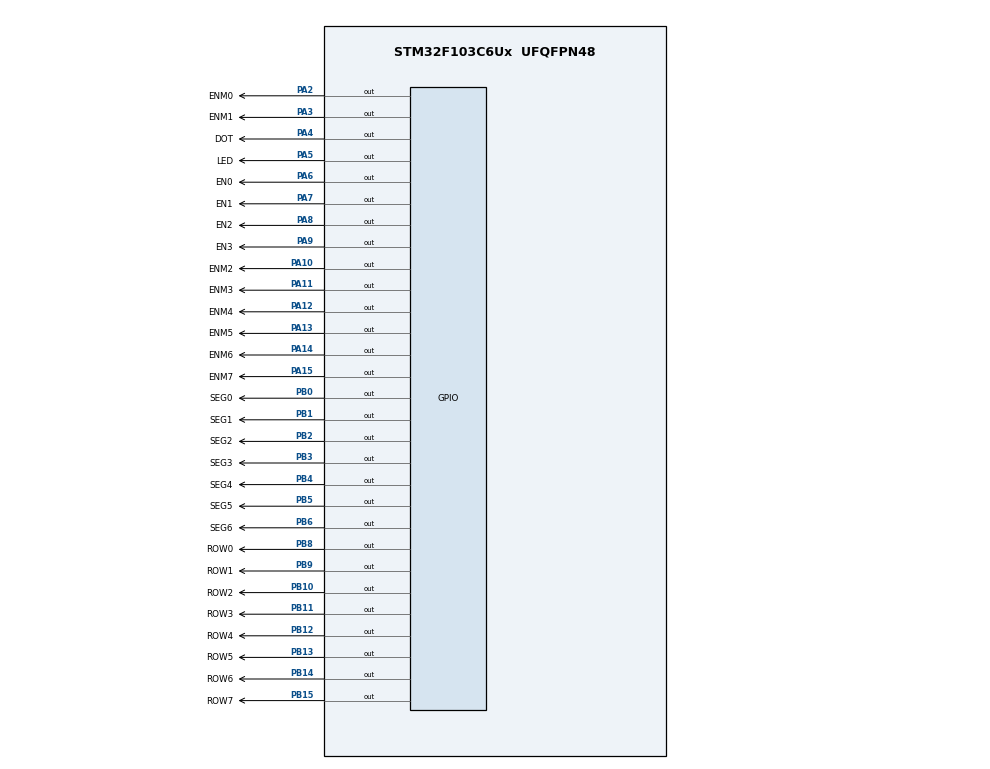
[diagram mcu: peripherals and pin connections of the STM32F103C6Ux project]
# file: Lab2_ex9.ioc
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Mcu.Family=STM32F1
Mcu.Name=STM32F103C6Ux
Mcu.Package=UFQFPN48
NVIC.PriorityGroup=NVIC_PRIORITYGROUP_4
NVIC.TIM2_IRQn=true\:0\:0\:false\:false\:true\:true\:true\:true
PA10.GPIO_Label=ENM2
PA10.Signal=GPIO_Output
PA11.GPIO_Label=ENM3
PA11.Signal=GPIO_Output
PA12.GPIO_Label=ENM4
PA12.Signal=GPIO_Output
PA13.GPIO_Label=ENM5
PA13.Signal=GPIO_Output
PA14.GPIO_Label=ENM6
PA14.Signal=GPIO_Output
PA15.GPIO_Label=ENM7
PA15.Signal=GPIO_Output
PA2.GPIO_Label=ENM0
PA2.Signal=GPIO_Output
PA3.GPIO_Label=ENM1
PA3.Signal=GPIO_Output
PA4.GPIO_Label=DOT
PA4.Signal=GPIO_Output
PA5.GPIO_Label=LED
PA5.Signal=GPIO_Output
PA6.GPIO_Label=EN0
PA6.Signal=GPIO_Output
PA7.GPIO_Label=EN1
PA7.Signal=GPIO_Output
PA8.GPIO_Label=EN2
PA8.Signal=GPIO_Output
PA9.GPIO_Label=EN3
PA9.Signal=GPIO_Output
PB0.GPIO_Label=SEG0
PB0.Signal=GPIO_Output
PB1.GPIO_Label=SEG1
PB1.Signal=GPIO_Output
PB10.GPIO_Label=ROW2
PB10.Signal=GPIO_Output
PB11.GPIO_Label=ROW3
PB11.Signal=GPIO_Output
PB12.GPIO_Label=ROW4
PB12.Signal=GPIO_Output
PB13.GPIO_Label=ROW5
PB13.Signal=GPIO_Output
PB14.GPIO_Label=ROW6
PB14.Signal=GPIO_Output
PB15.GPIO_Label=ROW7
PB15.Signal=GPIO_Output
PB2.GPIO_Label=SEG2
PB2.Signal=GPIO_Output
PB3.GPIO_Label=SEG3
PB3.Signal=GPIO_Output
PB4.GPIO_Label=SEG4
PB4.Signal=GPIO_Output
PB5.GPIO_Label=SEG5
PB5.Signal=GPIO_Output
PB6.GPIO_Label=SEG6
PB6.Signal=GPIO_Output
PB8.GPIO_Label=ROW0
PB8.Signal=GPIO_Output
PB9.GPIO_Label=ROW1
PB9.Signal=GPIO_Output
ProjectManager.HeapSize=0x200
ProjectManager.StackSize=0x400
ProjectManager.TargetToolchain=STM32CubeIDE
RCC.APB1Freq_Value=8000000
RCC.APB2Freq_Value=8000000
TIM2.Period=9
TIM2.Prescaler=7999
VP_TIM2_VS_ClockSourceINT.Mode=Internal
board=custom

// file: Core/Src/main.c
/* USER CODE BEGIN Header */
/**
  ******************************************************************************
  * @file           : main.c
  * @brief          : Main program body
  ******************************************************************************
  * @attention
  *
  * Copyright (c) 2023 STMicroelectronics.
  * All rights reserved.
  *
  * This software is licensed under terms that can be found in the LICENSE file
  * in the root directory of this software component.
  * If no LICENSE file comes with this software, it is provided AS-IS.
  *
  ******************************************************************************
  */
/* USER CODE END Header */
#include "main.h"

/* USER CODE BEGIN Includes */
#include "software_timer.h"
/* USER CODE END Includes */

TIM_HandleTypeDef htim2;

void SystemClock_Config(void);
static void MX_GPIO_Init(void);
static void MX_TIM2_Init(void);

/* USER CODE BEGIN 0 */
const int MAX_LED_MATRIX = 8;
int index_led_matrix = 0;
uint8_t matrix_buffer[8] = {
		0b11111111,
		0b11000000,
		0b10000000,
		0b10110111,
		0b10110111,
		0b10000000,
		0b11000000,
		0b11111111
};
void displayLEDm(int index) {
	uint16_t row_arr = matrix_buffer[index];
	HAL_GPIO_WritePin(GPIOB, ROW7_Pin, (row_arr >> 0) & 1);
	HAL_GPIO_WritePin(GPIOB, ROW6_Pin, (row_arr >> 1) & 1);
	HAL_GPIO_WritePin(GPIOB, ROW5_Pin, (row_arr >> 2) & 1);
	HAL_GPIO_WritePin(GPIOB, ROW4_Pin, (row_arr >> 3) & 1);
	HAL_GPIO_WritePin(GPIOB, ROW3_Pin, (row_arr >> 4) & 1);
	HAL_GPIO_WritePin(GPIOB, ROW2_Pin, (row_arr >> 5) & 1);
	HAL_GPIO_WritePin(GPIOB, ROW1_Pin, (row_arr >> 6) & 1);
	HAL_GPIO_WritePin(GPIOB, ROW0_Pin, (row_arr >> 7) & 1);

}
void updateLEDMatrix(int index) {
	switch (index) {
		case 0:
			HAL_GPIO_WritePin(GPIOA, ENM0_Pin, GPIO_PIN_RESET);
			HAL_GPIO_WritePin(GPIOA, ENM1_Pin|ENM2_Pin|ENM3_Pin|ENM4_Pin|ENM5_Pin|ENM6_Pin|ENM7_Pin, GPIO_PIN_SET);
			break;
		case 1:
			HAL_GPIO_WritePin(GPIOA, ENM1_Pin, GPIO_PIN_RESET);
			HAL_GPIO_WritePin(GPIOA, ENM0_Pin|ENM2_Pin|ENM3_Pin|ENM4_Pin|ENM5_Pin|ENM6_Pin|ENM7_Pin, GPIO_PIN_SET);
			break;
		case 2:
			HAL_GPIO_WritePin(GPIOA, ENM2_Pin, GPIO_PIN_RESET);
			HAL_GPIO_WritePin(GPIOA, ENM0_Pin|ENM1_Pin|ENM3_Pin|ENM4_Pin|ENM5_Pin|ENM6_Pin|ENM7_Pin, GPIO_PIN_SET);
			break;
		case 3:
			HAL_GPIO_WritePin(GPIOA, ENM3_Pin, GPIO_PIN_RESET);
			HAL_GPIO_WritePin(GPIOA, ENM0_Pin|ENM1_Pin|ENM2_Pin|ENM4_Pin|ENM5_Pin|ENM6_Pin|ENM7_Pin, GPIO_PIN_SET);
			break;
		case 4:
			HAL_GPIO_WritePin(GPIOA, ENM4_Pin, GPIO_PIN_RESET);
			HAL_GPIO_WritePin(GPIOA, ENM0_Pin|ENM1_Pin|ENM2_Pin|ENM3_Pin|ENM5_Pin|ENM6_Pin|ENM7_Pin, GPIO_PIN_SET);
			break;
		case 5:
			HAL_GPIO_WritePin(GPIOA, ENM5_Pin, GPIO_PIN_RESET);
			HAL_GPIO_WritePin(GPIOA, ENM0_Pin|ENM1_Pin|ENM2_Pin|ENM3_Pin|ENM4_Pin|ENM6_Pin|ENM7_Pin, GPIO_PIN_SET);
			break;
		case 6:
			HAL_GPIO_WritePin(GPIOA, ENM6_Pin, GPIO_PIN_RESET);
			HAL_GPIO_WritePin(GPIOA, ENM0_Pin|ENM1_Pin|ENM2_Pin|ENM3_Pin|ENM4_Pin|ENM5_Pin|ENM7_Pin, GPIO_PIN_SET);
			break;
		case 7:
			HAL_GPIO_WritePin(GPIOA, ENM7_Pin, GPIO_PIN_RESET);
			HAL_GPIO_WritePin(GPIOA, ENM0_Pin|ENM1_Pin|ENM2_Pin|ENM3_Pin|ENM4_Pin|ENM5_Pin|ENM6_Pin, GPIO_PIN_SET);
			break;
		default:
			break;
	}
	displayLEDm(index);
}

/* USER CODE END 0 */

int main(void)
{

  /* MCU Configuration--------------------------------------------------------*/

  /* Reset of all peripherals, Initializes the Flash interface and the Systick. */
  HAL_Init();

  /* Configure the system clock */
  SystemClock_Config();

  /* Initialize all configured peripherals */
  MX_GPIO_Init();
  MX_TIM2_Init();
  /* USER CODE BEGIN 2 */
  HAL_TIM_Base_Start_IT(&htim2);
  /* USER CODE END 2 */

  /* Infinite loop */
  /* USER CODE BEGIN WHILE */
  setTimer1(2);
  setTimer2(16);
  int index = 0;
  while (1)
  {
	  if (timer1_flag == 1) {
		  setTimer1(2);
		  HAL_GPIO_TogglePin(LED_GPIO_Port, LED_Pin);
		  updateLEDMatrix(index);
		  index++;
		  if (index >= 8) {
			  index = 0;
		  }
	  }
	  if (timer2_flag == 1) { // update buffer
		  setTimer2(16);
		  uint8_t temp = matrix_buffer[7];
		  for (int i = 7; i >= 1; i--) {
			  matrix_buffer[i] = matrix_buffer[i-1];
		  }
		  matrix_buffer[0] = temp;
	  }

    /* USER CODE END WHILE */

  }
}

void SystemClock_Config(void)
{
  RCC_OscInitTypeDef RCC_OscInitStruct = {0};
  RCC_ClkInitTypeDef RCC_ClkInitStruct = {0};

  /** Initializes the RCC Oscillators according to the specified parameters
  * in the RCC_OscInitTypeDef structure.
  */
  RCC_OscInitStruct.OscillatorType = RCC_OSCILLATORTYPE_HSI;
  RCC_OscInitStruct.HSIState = RCC_HSI_ON;
  RCC_OscInitStruct.HSICalibrationValue = RCC_HSICALIBRATION_DEFAULT;
  RCC_OscInitStruct.PLL.PLLState = RCC_PLL_NONE;
  if (HAL_RCC_OscConfig(&RCC_OscInitStruct) != HAL_OK)
  {
    Error_Handler();
  }

  /** Initializes the CPU, AHB and APB buses clocks
  */
  RCC_ClkInitStruct.ClockType = RCC_CLOCKTYPE_HCLK|RCC_CLOCKTYPE_SYSCLK
                              |RCC_CLOCKTYPE_PCLK1|RCC_CLOCKTYPE_PCLK2;
  RCC_ClkInitStruct.SYSCLKSource = RCC_SYSCLKSOURCE_HSI;
  RCC_ClkInitStruct.AHBCLKDivider = RCC_SYSCLK_DIV1;
  RCC_ClkInitStruct.APB1CLKDivider = RCC_HCLK_DIV1;
  RCC_ClkInitStruct.APB2CLKDivider = RCC_HCLK_DIV1;

  if (HAL_RCC_ClockConfig(&RCC_ClkInitStruct, FLASH_LATENCY_0) != HAL_OK)
  {
    Error_Handler();
  }
}

static void MX_TIM2_Init(void)
{

  TIM_ClockConfigTypeDef sClockSourceConfig = {0};
  TIM_MasterConfigTypeDef sMasterConfig = {0};

  htim2.Instance = TIM2;
  htim2.Init.Prescaler = 7999;
  htim2.Init.CounterMode = TIM_COUNTERMODE_UP;
  htim2.Init.Period = 9;
  htim2.Init.ClockDivision = TIM_CLOCKDIVISION_DIV1;
  htim2.Init.AutoReloadPreload = TIM_AUTORELOAD_PRELOAD_DISABLE;
  if (HAL_TIM_Base_Init(&htim2) != HAL_OK)
  {
    Error_Handler();
  }
  sClockSourceConfig.ClockSource = TIM_CLOCKSOURCE_INTERNAL;
  if (HAL_TIM_ConfigClockSource(&htim2, &sClockSourceConfig) != HAL_OK)
  {
    Error_Handler();
  }
  sMasterConfig.MasterOutputTrigger = TIM_TRGO_RESET;
  sMasterConfig.MasterSlaveMode = TIM_MASTERSLAVEMODE_DISABLE;
  if (HAL_TIMEx_MasterConfigSynchronization(&htim2, &sMasterConfig) != HAL_OK)
  {
    Error_Handler();
  }

}

static void MX_GPIO_Init(void)
{
  GPIO_InitTypeDef GPIO_InitStruct = {0};

  /* GPIO Ports Clock Enable */
  __HAL_RCC_GPIOA_CLK_ENABLE();
  __HAL_RCC_GPIOB_CLK_ENABLE();

  /*Configure GPIO pin Output Level */
  HAL_GPIO_WritePin(GPIOA, ENM0_Pin|ENM1_Pin|DOT_Pin|LED_Pin
                          |EN0_Pin|EN1_Pin|EN2_Pin|EN3_Pin
                          |ENM2_Pin|ENM3_Pin|ENM4_Pin|ENM5_Pin
                          |ENM6_Pin|ENM7_Pin, GPIO_PIN_RESET);

  /*Configure GPIO pin Output Level */
  HAL_GPIO_WritePin(GPIOB, SEG0_Pin|SEG1_Pin|SEG2_Pin|ROW2_Pin
                          |ROW3_Pin|ROW4_Pin|ROW5_Pin|ROW6_Pin
                          |ROW7_Pin|SEG3_Pin|SEG4_Pin|SEG5_Pin
                          |SEG6_Pin|ROW0_Pin|ROW1_Pin, GPIO_PIN_RESET);

  /*Configure GPIO pins : ENM0_Pin ENM1_Pin DOT_Pin LED_Pin
                           EN0_Pin EN1_Pin EN2_Pin EN3_Pin
                           ENM2_Pin ENM3_Pin ENM4_Pin ENM5_Pin
                           ENM6_Pin ENM7_Pin */
  GPIO_InitStruct.Pin = ENM0_Pin|ENM1_Pin|DOT_Pin|LED_Pin
                          |EN0_Pin|EN1_Pin|EN2_Pin|EN3_Pin
                          |ENM2_Pin|ENM3_Pin|ENM4_Pin|ENM5_Pin
                          |ENM6_Pin|ENM7_Pin;
  GPIO_InitStruct.Mode = GPIO_MODE_OUTPUT_PP;
  GPIO_InitStruct.Pull = GPIO_NOPULL;
  GPIO_InitStruct.Speed = GPIO_SPEED_FREQ_LOW;
  HAL_GPIO_Init(GPIOA, &GPIO_InitStruct);

  /*Configure GPIO pins : SEG0_Pin SEG1_Pin SEG2_Pin ROW2_Pin
                           ROW3_Pin ROW4_Pin ROW5_Pin ROW6_Pin
                           ROW7_Pin SEG3_Pin SEG4_Pin SEG5_Pin
                           SEG6_Pin ROW0_Pin ROW1_Pin */
  GPIO_InitStruct.Pin = SEG0_Pin|SEG1_Pin|SEG2_Pin|ROW2_Pin
                          |ROW3_Pin|ROW4_Pin|ROW5_Pin|ROW6_Pin
                          |ROW7_Pin|SEG3_Pin|SEG4_Pin|SEG5_Pin
                          |SEG6_Pin|ROW0_Pin|ROW1_Pin;
  GPIO_InitStruct.Mode = GPIO_MODE_OUTPUT_PP;
  GPIO_InitStruct.Pull = GPIO_NOPULL;
  GPIO_InitStruct.Speed = GPIO_SPEED_FREQ_LOW;
  HAL_GPIO_Init(GPIOB, &GPIO_InitStruct);

}

/* USER CODE BEGIN 4 */
void HAL_TIM_PeriodElapsedCallback(TIM_HandleTypeDef *htim) {
	timerRun();
}
/* USER CODE END 4 */

void Error_Handler(void)
{
  __disable_irq();
  while (1)
  {
  }
}
